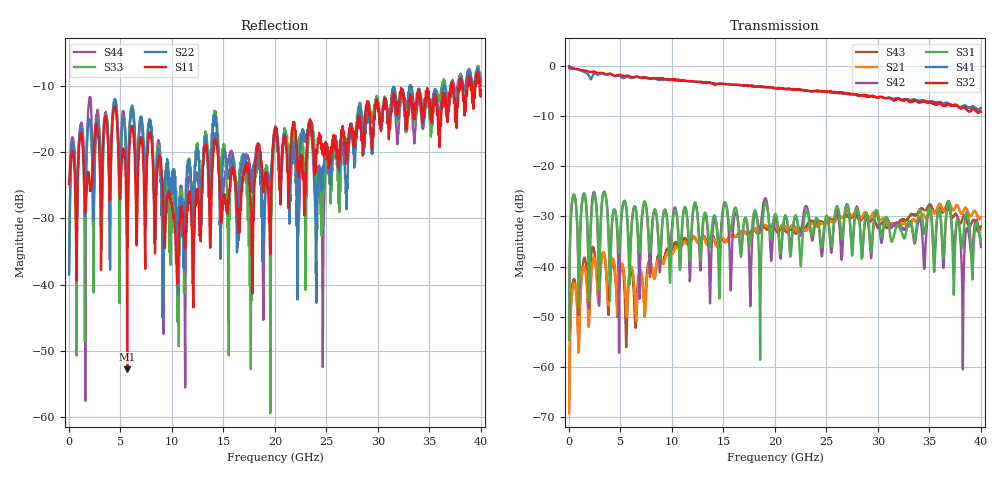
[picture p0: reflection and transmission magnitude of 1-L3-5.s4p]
! MS46524B
! 2118201/M1: 21072234/M2: 20492244
! 10/22/2024 6:44:13 PM
! C:\VNA DATA\LC3-SMK\AD5613\22VAD5613Q\LOT-805\差動\1-L3-4.S4P
! CHANNEL.1
! TR.MEASUREMENT
! CORRECTED.DATA
# GHZ S RI R 50.0
! FREQ.GHZ  S11RE  S11IM  S12RE  S12IM  S13RE  S13IM  S14RE  S14IM
!  S21RE  S21IM  S22RE  S22IM  S23RE  S23IM  S24RE  S24IM
!  S31RE  S31IM  S32RE  S32IM  S33RE  S33IM  S34RE  S34IM
!  S41RE  S41IM  S42RE  S42IM  S43RE  S43IM  S44RE  S44IM
!; PortSelection: Port_1234
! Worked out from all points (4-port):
!   4000 points, 10 MHz to 40 GHz, reference 50 ohm
!   strongest paths, dB at 10 MHz, 10.01 GHz, 20.01 GHz, 30.01 GHz, 40 GHz:
!     S32: -0.1, -2.7, -4.5, -6.3, -9.2
!     S41: -0.5, -2.9, -4.5, -6.3, -8.5
!     S31: -54.6, -33.0, -29.6, -29.6, -34.8
!     S42: -54.1, -31.7, -30.5, -30.0, -36.1
!     S21: -69.2, -37.5, -31.8, -30.5, -30.2
!     S43: -68.1, -36.9, -32.5, -32.4, -32.0
!   lowest |S11| = -52.8 dB at 5.65 GHz (marker M1), VSWR 1.00, Z = 49.8 - j0.0116 ohm
!   |S11| at or under -10 dB: start of sweep to 37.06 GHz; 37.22 GHz to 37.92 GHz (693.4 MHz wide, 1.85 % of centre); 38.22 GHz to 38.69 GHz (470.5 MHz wide, 1.22 % of centre)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
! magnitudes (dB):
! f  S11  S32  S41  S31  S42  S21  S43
! 10 MHz  -24.8  -0.1  -0.5  -54.6  -54.1  -69.2  -68.1
! 2.32 GHz  -22.2  -1.2  -1.8  -26.4  -25.6  -38.9  -36.1
! 5.65 GHz  -52.8  -2.0  -2.2  -30.4  -30.0  -48.9  -49.0
! 11.27 GHz  -34.5  -3.0  -3.0  -28.2  -28.2  -35.1  -34.5
! 14.2 GHz  -18.4  -3.7  -3.6  -30.0  -30.7  -35.1  -35.0
! 17.66 GHz  -28.0  -4.0  -4.0  -35.0  -43.6  -33.1  -33.0
! 40 GHz  -11.5  -9.2  -8.5  -34.8  -36.1  -30.2  -32.0
